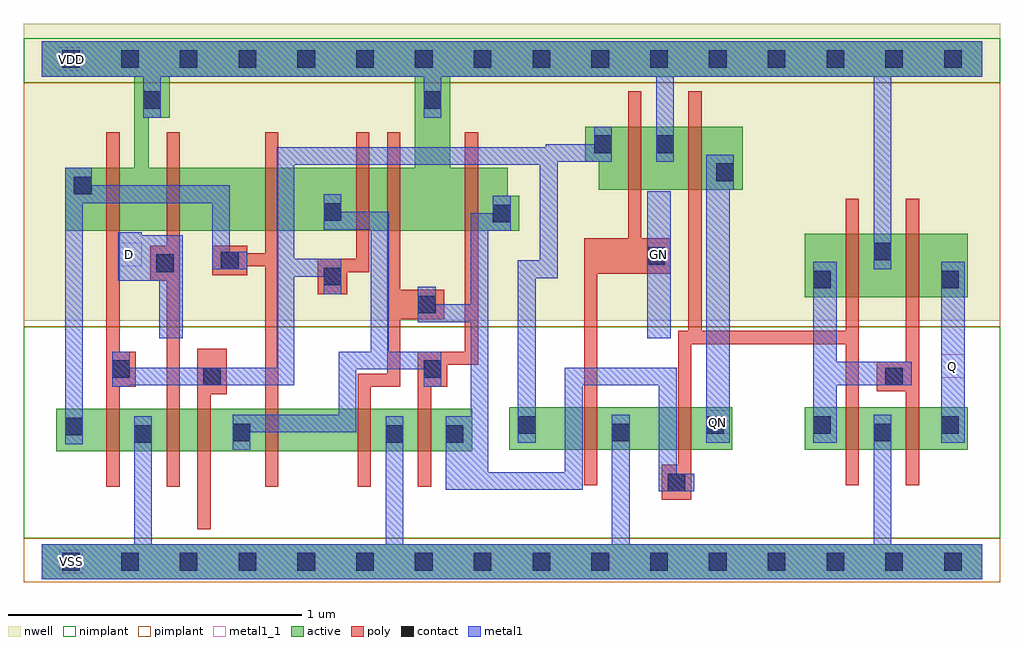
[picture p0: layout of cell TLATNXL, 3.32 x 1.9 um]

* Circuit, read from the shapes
.subckt TLATNXL D GN Q QN VDD VSS
M1 VSS n1 n2 VSS nfet w=0.145u l=0.045u
M2 n3 D VSS VSS nfet w=0.145u l=0.045u
M3 n4 n1 n3 VSS nfet w=0.145u l=0.045u
M4 n5 n2 n4 VSS nfet w=0.145u l=0.045u
M5 VSS n6 n5 VSS nfet w=0.145u l=0.045u
M6 n6 n4 VSS VSS nfet w=0.145u l=0.045u
M7 VSS GN n1 VSS nfet w=0.145u l=0.045u
M8 QN n6 VSS VSS nfet w=0.145u l=0.045u
M9 VSS n6 n7 VSS nfet w=0.145u l=0.045u
M10 Q n7 VSS VSS nfet w=0.145u l=0.045u
M11 VDD n1 n2 VDD pfet w=0.215u l=0.045u
M12 n8 D VDD VDD pfet w=0.215u l=0.045u
M13 n4 n2 n8 VDD pfet w=0.215u l=0.045u
M14 n9 n1 n4 VDD pfet w=0.215u l=0.045u
M15 VDD n6 n9 VDD pfet w=0.215u l=0.045u
M16 n6 n4 VDD VDD pfet w=0.215u l=0.045u
M17 VDD GN n1 VDD pfet w=0.215u l=0.045u
M18 QN n6 VDD VDD pfet w=0.215u l=0.045u
M19 VDD n6 n7 VDD pfet w=0.215u l=0.045u
M20 Q n7 VDD VDD pfet w=0.215u l=0.045u
.ends

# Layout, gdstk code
import gdstk
lib = gdstk.Library(unit=1e-6, precision=5e-10)
def R(c, l, rs):  # rectangles x0, y0, x1, y1
    for r in rs: c.add(gdstk.rectangle(r[:2], r[2:], *l))
def A(c, l, x, y, w, h, nx, ny, dx, dy):  # array of equal rectangles
    R(c, l, [(x+i*dx, y+j*dy, x+i*dx+w, y+j*dy+h) for i in range(nx) for j in range(ny)])
def P(c, l, *ps):  # polygons
    for p in ps: c.add(gdstk.Polygon(p, *l))
active = (1, 0)
nwell = (2, 0)
poly = (3, 0)
nimplant = (4, 0)
pimplant = (5, 0)
contact = (6, 0)
metal1 = (7, 0)
metal1_1 = (7, 1)

tlatnxl = lib.new_cell('TLATNXL')
R(tlatnxl, active, [(0,-0.06,3.2,0.06), (0.05,0.375,1.465,0.52), (1.59,0.38,2.35,0.525), (2.595,0.38,3.15,0.525), (2.595,0.9,3.15,1.115)])
P(tlatnxl, active, [(0,1.77),(3.2,1.77),(3.2,1.65),(1.39,1.65),(1.39,1.34),(1.585,1.34),(1.585,1.245),(1.625,1.245),(1.625,1.125),(0.08,1.125),(0.08,1.34),(0.315,1.34),(0.315,1.65),(0.435,1.65),(0.435,1.51),(0.365,1.51),(0.365,1.34),(1.27,1.34),(1.27,1.65),(0,1.65)],
  [(1.85,1.48),(2.385,1.48),(2.385,1.265),(1.895,1.265),(1.895,1.36),(1.85,1.36)])
R(tlatnxl, nwell, [(-0.06,0.82,3.26,1.83)])
P(tlatnxl, poly, [(1.995,1.6),(2.04,1.6),(2.04,1.1),(2.14,1.1),(2.14,0.98),(1.89,0.98),(1.89,0.26),(1.845,0.26),(1.845,1.1),(1.995,1.1)],
  [(2.2,1.6),(2.245,1.6),(2.245,0.785),(2.735,0.785),(2.735,1.235),(2.78,1.235),(2.78,0.26),(2.735,0.26),(2.735,0.74),(2.21,0.74),(2.21,0.21),(2.11,0.21),(2.11,0.33),(2.165,0.33),(2.165,0.785),(2.2,0.785)],
  [(0.22,1.46),(0.265,1.46),(0.265,0.715),(0.32,0.715),(0.32,0.595),(0.265,0.595),(0.265,0.255),(0.22,0.255)],
  [(0.425,1.46),(0.47,1.46),(0.47,0.255),(0.425,0.255),(0.425,0.955),(0.37,0.955),(0.37,1.075),(0.425,1.075)],
  [(0.58,1.075),(0.7,1.075),(0.7,1.05),(0.76,1.05),(0.76,1.46),(0.805,1.46),(0.805,0.255),(0.76,0.255),(0.76,1.005),(0.7,1.005),(0.7,0.975),(0.58,0.975)],
  [(1.07,1.46),(1.115,1.46),(1.115,0.985),(1.04,0.985),(1.04,0.91),(0.94,0.91),(0.94,1.03),(1.07,1.03)],
  [(1.175,1.46),(1.22,1.46),(1.22,0.925),(1.37,0.925),(1.37,0.825),(1.22,0.825),(1.22,0.595),(1.12,0.595),(1.12,0.255),(1.075,0.255),(1.075,0.64),(1.175,0.64)],
  [(1.44,1.46),(1.485,1.46),(1.485,0.67),(1.38,0.67),(1.38,0.595),(1.325,0.595),(1.325,0.255),(1.28,0.255),(1.28,0.715),(1.44,0.715)],
  [(2.94,1.235),(2.985,1.235),(2.985,0.26),(2.94,0.26),(2.94,0.58),(2.84,0.58),(2.84,0.68),(2.94,0.68)],
  [(0.53,0.725),(0.63,0.725),(0.63,0.57),(0.575,0.57),(0.575,0.11),(0.53,0.11)])
R(tlatnxl, nimplant, [(-0.06,0.08,3.26,0.8), (-0.06,1.63,3.26,1.78)])
R(tlatnxl, pimplant, [(-0.06,-0.07,3.26,0.08), (-0.06,0.8,3.26,1.63)])
A(tlatnxl, contact, 0.07, -0.03, 0.06, 0.06, 16, 2, 0.2, 1.71)
R(tlatnxl, contact, [(2.13,0.24,2.19,0.3), (0.315,0.405,0.375,0.465), (1.17,0.405,1.23,0.465), (1.375,0.405,1.435,0.465), (0.65,0.41,0.71,0.47), (1.94,0.41,2,0.47), (2.83,0.41,2.89,0.47), (0.08,0.43,0.14,0.49), (1.62,0.435,1.68,0.495), (2.26,0.435,2.32,0.495), (2.625,0.435,2.685,0.495), (3.06,0.435,3.12,0.495), (0.55,0.6,0.61,0.66), (2.87,0.6,2.93,0.66), (0.24,0.625,0.3,0.685), (1.3,0.625,1.36,0.685), (1.28,0.845,1.34,0.905), (2.625,0.93,2.685,0.99), (3.06,0.93,3.12,0.99), (0.96,0.94,1.02,1), (0.39,0.985,0.45,1.045), (0.61,0.995,0.67,1.055), (2.06,1.01,2.12,1.07), (2.83,1.025,2.89,1.085), (1.535,1.155,1.595,1.215), (0.96,1.16,1.02,1.22), (0.11,1.25,0.17,1.31), (2.295,1.295,2.355,1.355), (1.88,1.39,1.94,1.45), (2.09,1.39,2.15,1.45), (0.345,1.54,0.405,1.6), (1.3,1.54,1.36,1.6)])
R(tlatnxl, metal1, [(3.06,0.405,3.14,1.02), (2.06,0.76,2.14,1.26)])
P(tlatnxl, metal1, [(0,1.77),(3.2,1.77),(3.2,1.65),(2.89,1.65),(2.89,0.995),(2.83,0.995),(2.83,1.65),(2.15,1.65),(2.15,1.36),(2.09,1.36),(2.09,1.65),(1.36,1.65),(1.36,1.51),(1.3,1.51),(1.3,1.65),(0.405,1.65),(0.405,1.51),(0.345,1.51),(0.345,1.65),(0,1.65)],
  [(1.88,1.48),(1.94,1.48),(1.94,1.36),(1.755,1.36),(1.755,0.965),(1.68,0.965),(1.68,0.405),(1.62,0.405),(1.62,1.025),(1.695,1.025),(1.695,1.35),(0.86,1.35),(0.86,1.03),(1.02,1.03),(1.02,0.91),(0.96,0.91),(0.96,0.97),(0.86,0.97),(0.86,0.6),(0.3,0.6),(0.3,0.595),(0.24,0.595),(0.24,0.715),(0.3,0.715),(0.3,0.66),(0.8,0.66),(0.8,1.41),(1.715,1.41),(1.715,1.42),(1.88,1.42)],
  [(2.26,1.385),(2.355,1.385),(2.355,1.265),(2.34,1.265),(2.34,0.405),(2.26,0.405)],
  [(0.08,1.34),(0.17,1.34),(0.17,1.28),(0.64,1.28),(0.64,1.055),(0.7,1.055),(0.7,0.995),(0.58,0.995),(0.58,1.22),(0.14,1.22),(0.14,0.4),(0.08,0.4)],
  [(0.26,1.12),(0.34,1.12),(0.34,1.11),(0.48,1.11),(0.48,0.76),(0.4,0.76),(0.4,0.955),(0.26,0.955)],
  [(0.96,1.25),(1.02,1.25),(1.02,1.19),(1.18,1.19),(1.18,0.715),(1.36,0.715),(1.36,0.595),(1.3,0.595),(1.3,0.655),(1.07,0.655),(1.07,0.44),(0.71,0.44),(0.71,0.38),(0.65,0.38),(0.65,0.5),(1.01,0.5),(1.01,0.715),(1.12,0.715),(1.12,1.13),(0.96,1.13)],
  [(1.535,1.245),(1.595,1.245),(1.595,1.125),(1.52,1.125),(1.52,0.305),(1.78,0.305),(1.78,0.66),(2.16,0.66),(2.16,0.3),(2.22,0.3),(2.22,0.24),(2.1,0.24),(2.1,0.6),(1.84,0.6),(1.84,0.245),(1.375,0.245),(1.375,0.495),(1.46,0.495),(1.46,0.815),(1.28,0.815),(1.28,0.935),(1.34,0.935),(1.34,0.875),(1.46,0.875),(1.46,1.185),(1.535,1.185)],
  [(0.315,0.495),(0.375,0.495),(0.375,0.06),(1.17,0.06),(1.17,0.495),(1.23,0.495),(1.23,0.06),(1.94,0.06),(1.94,0.5),(2,0.5),(2,0.06),(2.83,0.06),(2.83,0.5),(2.89,0.5),(2.89,0.06),(3.2,0.06),(3.2,-0.06),(0,-0.06),(0,0.06),(0.315,0.06)],
  [(2.625,1.02),(2.705,1.02),(2.705,0.68),(2.96,0.68),(2.96,0.6),(2.705,0.6),(2.705,0.405),(2.625,0.405)])
R(tlatnxl, metal1_1, [(0.06,-0.04,0.14,0.04), (2.26,0.435,2.34,0.515), (3.06,0.625,3.14,0.705), (0.26,1.005,0.34,1.085), (2.06,1.005,2.14,1.085), (0.06,1.67,0.14,1.75)])
tlatnxl.add(gdstk.Label('Q', (3.1,0.665), layer=7, texttype=1))
tlatnxl.add(gdstk.Label('QN', (2.3,0.475), layer=7, texttype=1))
tlatnxl.add(gdstk.Label('GN', (2.1,1.045), layer=7, texttype=1))
tlatnxl.add(gdstk.Label('D', (0.3,1.045), layer=7, texttype=1))
tlatnxl.add(gdstk.Label('VDD', (0.1,1.71), layer=7, texttype=1))
tlatnxl.add(gdstk.Label('VSS', (0.1,0), layer=7, texttype=1))
tlatnxl.add(gdstk.Label('TLATNXL', (0,0), layer=63, texttype=0))

lib.write_gds('TLATNXL.gds')
